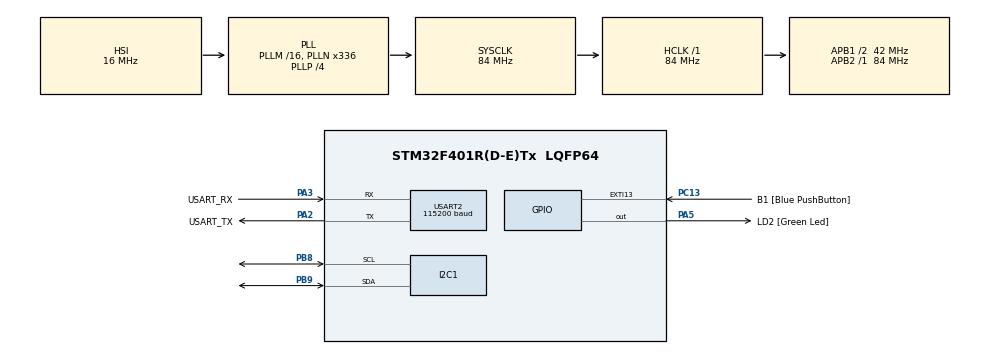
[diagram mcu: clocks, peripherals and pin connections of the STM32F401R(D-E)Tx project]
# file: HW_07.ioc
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Dma.Request0=USART2_TX
Dma.USART2_TX.0.Direction=DMA_MEMORY_TO_PERIPH
Dma.USART2_TX.0.FIFOMode=DMA_FIFOMODE_DISABLE
Dma.USART2_TX.0.Instance=DMA1_Stream6
Dma.USART2_TX.0.MemDataAlignment=DMA_MDATAALIGN_BYTE
Dma.USART2_TX.0.MemInc=DMA_MINC_ENABLE
Dma.USART2_TX.0.Mode=DMA_NORMAL
Dma.USART2_TX.0.PeriphDataAlignment=DMA_PDATAALIGN_BYTE
Dma.USART2_TX.0.PeriphInc=DMA_PINC_DISABLE
Dma.USART2_TX.0.Priority=DMA_PRIORITY_LOW
Mcu.Family=STM32F4
Mcu.Name=STM32F401R(D-E)Tx
Mcu.Package=LQFP64
NVIC.DMA1_Stream6_IRQn=true\:0\:0\:false\:false\:true\:false\:true\:true
NVIC.PriorityGroup=NVIC_PRIORITYGROUP_0
NVIC.TIM2_IRQn=true\:0\:0\:false\:false\:true\:true\:true\:true
NVIC.USART2_IRQn=true\:0\:0\:false\:false\:true\:true\:true\:true
PA13.GPIO_Label=TMS
PA13.Mode=Serial_Wire
PA13.Signal=SYS_JTMS-SWDIO
PA14.GPIO_Label=TCK
PA14.Mode=Serial_Wire
PA14.Signal=SYS_JTCK-SWCLK
PA2.GPIO_Label=USART_TX
PA2.GPIO_Mode=GPIO_MODE_AF_PP
PA2.GPIO_PuPd=GPIO_NOPULL
PA2.GPIO_Speed=GPIO_SPEED_FREQ_LOW
PA2.Mode=Asynchronous
PA2.Signal=USART2_TX
PA3.GPIO_Label=USART_RX
PA3.GPIO_Mode=GPIO_MODE_AF_PP
PA3.GPIO_PuPd=GPIO_NOPULL
PA3.GPIO_Speed=GPIO_SPEED_FREQ_LOW
PA3.Mode=Asynchronous
PA3.Signal=USART2_RX
PA5.GPIO_Label=LD2 [Green Led]
PA5.GPIO_Mode=GPIO_MODE_OUTPUT_PP
PA5.GPIO_PuPd=GPIO_NOPULL
PA5.GPIO_Speed=GPIO_SPEED_FREQ_LOW
PA5.Signal=GPIO_Output
PB3.GPIO_Label=SWO
PB3.Signal=SYS_JTDO-SWO
PB8.Mode=I2C
PB8.Signal=I2C1_SCL
PB9.Mode=I2C
PB9.Signal=I2C1_SDA
PC13-ANTI_TAMP.GPIO_Label=B1 [Blue PushButton]
PC13-ANTI_TAMP.GPIO_ModeDefaultEXTI=GPIO_MODE_IT_FALLING
PC13-ANTI_TAMP.GPIO_PuPd=GPIO_NOPULL
PC13-ANTI_TAMP.Signal=GPXTI13
PC14-OSC32_IN.Mode=LSE-External-Oscillator
PC14-OSC32_IN.Signal=RCC_OSC32_IN
PC15-OSC32_OUT.Mode=LSE-External-Oscillator
PC15-OSC32_OUT.Signal=RCC_OSC32_OUT
PH0\ -\ OSC_IN.Mode=HSE-External-Clock-Source
PH0\ -\ OSC_IN.Signal=RCC_OSC_IN
PH1\ -\ OSC_OUT.Mode=HSE-External-Clock-Source
PH1\ -\ OSC_OUT.Signal=RCC_OSC_OUT
ProjectManager.HeapSize=0x200
ProjectManager.StackSize=0x400
ProjectManager.TargetToolchain=STM32CubeIDE
RCC.48MHZClocksFreq_Value=48000000
RCC.AHBFreq_Value=84000000
RCC.APB1CLKDivider=RCC_HCLK_DIV2
RCC.APB1Freq_Value=42000000
RCC.APB1TimFreq_Value=84000000
RCC.APB2Freq_Value=84000000
RCC.APB2TimFreq_Value=84000000
RCC.CortexFreq_Value=84000000
RCC.HCLKFreq_Value=84000000
RCC.HSE_VALUE=8000000
RCC.HSI_VALUE=16000000
RCC.PLLN=336
RCC.PLLP=RCC_PLLP_DIV4
RCC.PLLQ=7
RCC.SYSCLKFreq_VALUE=84000000
RCC.SYSCLKSource=RCC_SYSCLKSOURCE_PLLCLK
RCC.VCOOutputFreq_Value=336000000
TIM2.Period=10000-1
TIM2.Prescaler=8400-1
USART2.BaudRate=115200
USART2.VirtualMode=VM_ASYNC
VP_TIM2_VS_ClockSourceINT.Mode=Internal
board=NUCLEO-F401RE

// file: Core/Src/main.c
/* USER CODE BEGIN Header */
/**
  ******************************************************************************
  * @file           : main.c
  * @brief          : Main program body
  ******************************************************************************
  * @attention
  *
  * Copyright (c) 2024 STMicroelectronics.
  * All rights reserved.
  *
  * This software is licensed under terms that can be found in the LICENSE file
  * in the root directory of this software component.
  * If no LICENSE file comes with this software, it is provided AS-IS.
  *
  ******************************************************************************
  */
/* USER CODE END Header */
#include "main.h"

/* USER CODE BEGIN PD */
#define PER_ADDRESS_WRITE 144 // equal to 0b10010000     //for the writing the LSB is 0
#define PER_ADDRESS_READ 145 // equal to the previous+1  //for reading the LSB is 1
/* USER CODE END PD */

I2C_HandleTypeDef hi2c1;

TIM_HandleTypeDef htim2;

UART_HandleTypeDef huart2;
DMA_HandleTypeDef hdma_usart2_tx;

/* USER CODE BEGIN PV */
uint8_t LM75_ADDRESS = 0b10010000; //address left shifted by 1, zero padded // equal to 144 in decimal
uint8_t LM75_TEMP_ADDRESS = 0x00; //address of the pointer register         // equal to 0

uint8_t zero_value = 0;
int count=0;

uint8_t temp_value[2] = {0};
char str[64];
int len;
float converted_value;

/* USER CODE END PV */

void SystemClock_Config(void);
static void MX_GPIO_Init(void);
static void MX_DMA_Init(void);
static void MX_USART2_UART_Init(void);
static void MX_I2C1_Init(void);
static void MX_TIM2_Init(void);

/* USER CODE BEGIN 0 */

void HAL_TIM_PeriodElapsedCallback(TIM_HandleTypeDef *htim) {
	if (htim->Instance == TIM2) {
		if(HAL_I2C_Master_Receive(&hi2c1, PER_ADDRESS_READ, &temp_value, 2, 100) == HAL_OK) {
		  temp_value[1] = temp_value[1] >> 7;  //right shift the value of 7 positions
		  if(temp_value[0] >> 7) {    //if the MSB of the integer part is one, then it's a negative value
			  temp_value[0] = (~temp_value[0]); //reverse all the bits
			  temp_value[1] = (temp_value[1] ^ 1) + 1;  //complement of 1, and then add 1

			  if (temp_value[1] > 1){//if there is overflow
				  temp_value[1] = 0; //reset the fractional part to 0
				  temp_value[0]++; //and increment the integer part
			   }
			  // fractional part can be either 1/2=0.5 or 0/2=0          (we divide by 2 because the LM75 has only 1 bit for the decimal part)
			  converted_value = -(temp_value[0] + (float)temp_value[1] / 2.0);
		  } else {
			  converted_value = temp_value[0] + (float)temp_value[1] / 2.0;
		  }

		  len = snprintf(str, sizeof(str), "%d, The temperature is %.3f C\r\n",count, converted_value);
		  count++;
		  if( HAL_UART_GetState(&huart2)==HAL_UART_STATE_READY ){
			  HAL_UART_Transmit_DMA(&huart2, str, len);
		  }
	  }
	}
}

/* USER CODE END 0 */

int main(void)
{

  /* MCU Configuration--------------------------------------------------------*/

  /* Reset of all peripherals, Initializes the Flash interface and the Systick. */
  HAL_Init();

  /* Configure the system clock */
  SystemClock_Config();

  /* Initialize all configured peripherals */
  MX_GPIO_Init();
  MX_DMA_Init();
  MX_USART2_UART_Init();
  MX_I2C1_Init();
  MX_TIM2_Init();
  /* USER CODE BEGIN 2 */

  HAL_TIM_Base_Start_IT(&htim2);
  HAL_I2C_Master_Transmit(&hi2c1, PER_ADDRESS_WRITE, &zero_value, 1, 100);

  /* USER CODE END 2 */

  /* Infinite loop */
    while (1)
    {

  }
}

void SystemClock_Config(void)
{
  RCC_OscInitTypeDef RCC_OscInitStruct = {0};
  RCC_ClkInitTypeDef RCC_ClkInitStruct = {0};

  /** Configure the main internal regulator output voltage
  */
  __HAL_RCC_PWR_CLK_ENABLE();
  __HAL_PWR_VOLTAGESCALING_CONFIG(PWR_REGULATOR_VOLTAGE_SCALE2);

  /** Initializes the RCC Oscillators according to the specified parameters
  * in the RCC_OscInitTypeDef structure.
  */
  RCC_OscInitStruct.OscillatorType = RCC_OSCILLATORTYPE_HSI;
  RCC_OscInitStruct.HSIState = RCC_HSI_ON;
  RCC_OscInitStruct.HSICalibrationValue = RCC_HSICALIBRATION_DEFAULT;
  RCC_OscInitStruct.PLL.PLLState = RCC_PLL_ON;
  RCC_OscInitStruct.PLL.PLLSource = RCC_PLLSOURCE_HSI;
  RCC_OscInitStruct.PLL.PLLM = 16;
  RCC_OscInitStruct.PLL.PLLN = 336;
  RCC_OscInitStruct.PLL.PLLP = RCC_PLLP_DIV4;
  RCC_OscInitStruct.PLL.PLLQ = 7;
  if (HAL_RCC_OscConfig(&RCC_OscInitStruct) != HAL_OK)
  {
    Error_Handler();
  }

  /** Initializes the CPU, AHB and APB buses clocks
  */
  RCC_ClkInitStruct.ClockType = RCC_CLOCKTYPE_HCLK|RCC_CLOCKTYPE_SYSCLK
                              |RCC_CLOCKTYPE_PCLK1|RCC_CLOCKTYPE_PCLK2;
  RCC_ClkInitStruct.SYSCLKSource = RCC_SYSCLKSOURCE_PLLCLK;
  RCC_ClkInitStruct.AHBCLKDivider = RCC_SYSCLK_DIV1;
  RCC_ClkInitStruct.APB1CLKDivider = RCC_HCLK_DIV2;
  RCC_ClkInitStruct.APB2CLKDivider = RCC_HCLK_DIV1;

  if (HAL_RCC_ClockConfig(&RCC_ClkInitStruct, FLASH_LATENCY_2) != HAL_OK)
  {
    Error_Handler();
  }
}

static void MX_I2C1_Init(void)
{

  hi2c1.Instance = I2C1;
  hi2c1.Init.ClockSpeed = 100000;
  hi2c1.Init.DutyCycle = I2C_DUTYCYCLE_2;
  hi2c1.Init.OwnAddress1 = 0;
  hi2c1.Init.AddressingMode = I2C_ADDRESSINGMODE_7BIT;
  hi2c1.Init.DualAddressMode = I2C_DUALADDRESS_DISABLE;
  hi2c1.Init.OwnAddress2 = 0;
  hi2c1.Init.GeneralCallMode = I2C_GENERALCALL_DISABLE;
  hi2c1.Init.NoStretchMode = I2C_NOSTRETCH_DISABLE;
  if (HAL_I2C_Init(&hi2c1) != HAL_OK)
  {
    Error_Handler();
  }

}

static void MX_TIM2_Init(void)
{

  TIM_ClockConfigTypeDef sClockSourceConfig = {0};
  TIM_MasterConfigTypeDef sMasterConfig = {0};

  htim2.Instance = TIM2;
  htim2.Init.Prescaler = 8400-1;
  htim2.Init.CounterMode = TIM_COUNTERMODE_UP;
  htim2.Init.Period = 10000-1;
  htim2.Init.ClockDivision = TIM_CLOCKDIVISION_DIV1;
  htim2.Init.AutoReloadPreload = TIM_AUTORELOAD_PRELOAD_DISABLE;
  if (HAL_TIM_Base_Init(&htim2) != HAL_OK)
  {
    Error_Handler();
  }
  sClockSourceConfig.ClockSource = TIM_CLOCKSOURCE_INTERNAL;
  if (HAL_TIM_ConfigClockSource(&htim2, &sClockSourceConfig) != HAL_OK)
  {
    Error_Handler();
  }
  sMasterConfig.MasterOutputTrigger = TIM_TRGO_RESET;
  sMasterConfig.MasterSlaveMode = TIM_MASTERSLAVEMODE_DISABLE;
  if (HAL_TIMEx_MasterConfigSynchronization(&htim2, &sMasterConfig) != HAL_OK)
  {
    Error_Handler();
  }

}

static void MX_USART2_UART_Init(void)
{

  huart2.Instance = USART2;
  huart2.Init.BaudRate = 115200;
  huart2.Init.WordLength = UART_WORDLENGTH_8B;
  huart2.Init.StopBits = UART_STOPBITS_1;
  huart2.Init.Parity = UART_PARITY_NONE;
  huart2.Init.Mode = UART_MODE_TX_RX;
  huart2.Init.HwFlowCtl = UART_HWCONTROL_NONE;
  huart2.Init.OverSampling = UART_OVERSAMPLING_16;
  if (HAL_UART_Init(&huart2) != HAL_OK)
  {
    Error_Handler();
  }

}

static void MX_DMA_Init(void)
{

  /* DMA controller clock enable */
  __HAL_RCC_DMA1_CLK_ENABLE();

  /* DMA interrupt init */
  /* DMA1_Stream6_IRQn interrupt configuration */
  HAL_NVIC_SetPriority(DMA1_Stream6_IRQn, 0, 0);
  HAL_NVIC_EnableIRQ(DMA1_Stream6_IRQn);

}

static void MX_GPIO_Init(void)
{
  GPIO_InitTypeDef GPIO_InitStruct = {0};

  /* GPIO Ports Clock Enable */
  __HAL_RCC_GPIOC_CLK_ENABLE();
  __HAL_RCC_GPIOH_CLK_ENABLE();
  __HAL_RCC_GPIOA_CLK_ENABLE();
  __HAL_RCC_GPIOB_CLK_ENABLE();

  /*Configure GPIO pin Output Level */
  HAL_GPIO_WritePin(LD2_GPIO_Port, LD2_Pin, GPIO_PIN_RESET);

  /*Configure GPIO pin : B1_Pin */
  GPIO_InitStruct.Pin = B1_Pin;
  GPIO_InitStruct.Mode = GPIO_MODE_IT_FALLING;
  GPIO_InitStruct.Pull = GPIO_NOPULL;
  HAL_GPIO_Init(B1_GPIO_Port, &GPIO_InitStruct);

  /*Configure GPIO pin : LD2_Pin */
  GPIO_InitStruct.Pin = LD2_Pin;
  GPIO_InitStruct.Mode = GPIO_MODE_OUTPUT_PP;
  GPIO_InitStruct.Pull = GPIO_NOPULL;
  GPIO_InitStruct.Speed = GPIO_SPEED_FREQ_LOW;
  HAL_GPIO_Init(LD2_GPIO_Port, &GPIO_InitStruct);

}

void Error_Handler(void)
{
  __disable_irq();
  while (1)
  {
  }
}
